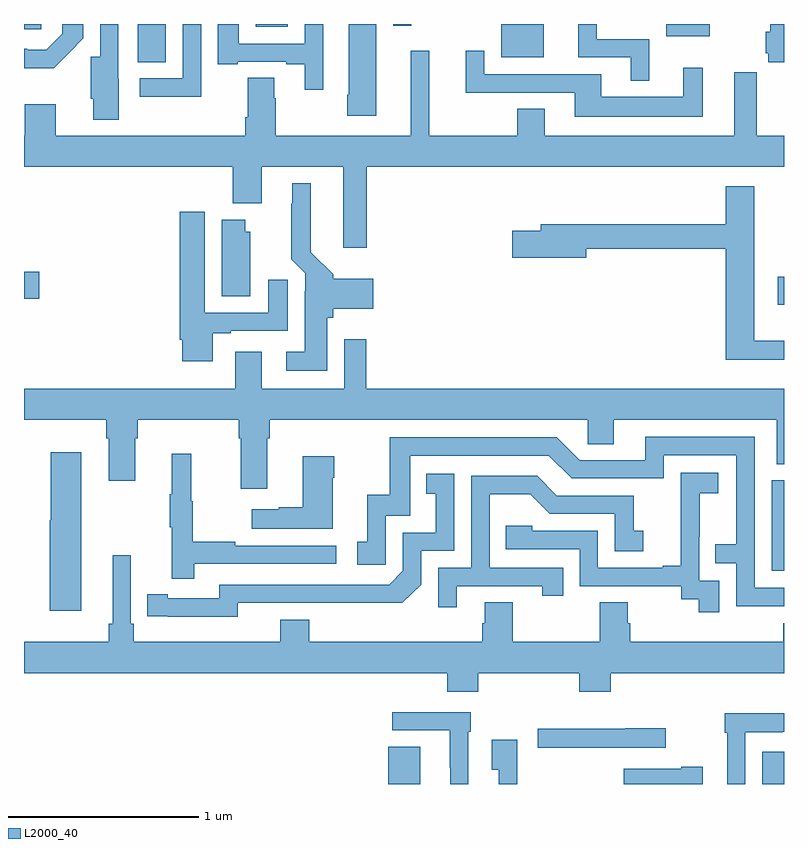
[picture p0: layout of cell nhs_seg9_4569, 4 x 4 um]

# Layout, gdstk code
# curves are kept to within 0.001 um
import gdstk
lib = gdstk.Library(unit=1e-6, precision=1e-09)
def R(c, l, rs):  # rectangles x0, y0, x1, y1
    for r in rs: c.add(gdstk.rectangle(r[:2], r[2:], *l))
def P(c, l, *ps):  # polygons
    for p in ps: c.add(gdstk.Polygon(p, *l))
L2000_40 = (2000, 40)

nhs_seg9_4569 = lib.new_cell('nhs_seg9_4569')
R(nhs_seg9_4569, L2000_40, [(374.918,1198.5,375.085,1198.697), (376.886,1198.5,377,1198.67), (376.935,1199.622,377,1200.099), (376.968,1201.022,377,1201.17), (373,1201.054,373.081,1201.196), (373.598,1202.299,373.747,1202.5), (375.512,1202.324,375.736,1202.5), (376.379,1202.435,376.609,1202.5), (373,1202.472,373.09,1202.5), (374.219,1202.486,374.389,1202.5), (374.943,1202.49,375.039,1202.5), (375.131,1202.498,375.424,1202.5)])
P(nhs_seg9_4569, L2000_40, [(374.575,1202.394),(374.574,1202.394),(374.574,1202.5),(374.478,1202.5),(374.478,1202.397),(374.131,1202.397),(374.131,1202.5),(374.021,1202.5),(374.021,1202.289),(374.125,1202.289),(374.125,1202.301),(374.381,1202.301),(374.381,1202.289),(374.477,1202.289),(374.477,1202.154),(374.575,1202.154)],
  [(373.932,1202.5),(373.836,1202.5),(373.836,1202.214),(373.608,1202.214),(373.608,1202.117),(373.932,1202.117)],
  [(373.498,1202.211),(373.497,1202.211),(373.497,1202.5),(373.401,1202.5),(373.401,1202.328),(373.352,1202.328),(373.352,1202.107),(373.364,1202.107),(373.364,1201.997),(373.498,1201.997)],
  [(373.239,1202.349),(373.238,1202.35),(373.312,1202.424),(373.312,1202.5),(373.2,1202.5),(373.2,1202.448),(373.116,1202.364),(373.016,1202.364),(373.016,1202.369),(373,1202.369),(373,1202.267),(373.157,1202.267)],
  [(374.854,1202.5),(374.708,1202.5),(374.708,1202.128),(374.701,1202.128),(374.701,1202.016),(374.854,1202.016)],
  [(377,1202.5),(376.928,1202.5),(376.928,1202.46),(376.903,1202.46),(376.903,1202.346),(376.916,1202.346),(376.916,1202.299),(377,1202.299)],
  [(376.291,1202.421),(376.014,1202.421),(376.014,1202.5),(375.917,1202.5),(375.917,1202.325),(376.193,1202.325),(376.193,1202.201),(376.291,1202.201)],
  [(376.573,1202.269),(376.469,1202.269),(376.469,1202.116),(376.039,1202.116),(376.039,1202.235),(375.423,1202.235),(375.423,1202.359),(375.326,1202.359),(375.326,1202.139),(375.899,1202.139),(375.899,1202.012),(376.573,1202.012)],
  [(374.804,1201.748),(377,1201.748),(377,1201.912),(376.856,1201.912),(376.856,1202.245),(376.739,1202.245),(376.739,1201.912),(375.742,1201.912),(375.742,1202.054),(375.595,1202.054),(375.595,1201.912),(375.134,1201.912),(375.134,1202.359),(375.035,1202.359),(375.035,1201.912),(374.325,1201.912),(374.325,1202.108),(374.317,1202.108),(374.317,1202.216),(374.177,1202.216),(374.177,1202.008),(374.165,1202.008),(374.165,1201.912),(373.168,1201.912),(373.168,1202.077),(373.004,1202.077),(373.004,1201.912),(373,1201.912),(373,1201.748),(374.099,1201.748),(374.099,1201.556),(374.251,1201.556),(374.251,1201.748),(374.681,1201.748),(374.681,1201.323),(374.804,1201.323)],
  [(374.596,1200.954),(374.627,1200.954),(374.627,1201.001),(374.839,1201.001),(374.839,1201.159),(374.627,1201.159),(374.627,1201.182),(374.509,1201.3),(374.509,1201.663),(374.411,1201.663),(374.411,1201.553),(374.407,1201.553),(374.407,1201.262),(374.481,1201.188),(374.481,1201.094),(374.477,1201.094),(374.477,1200.775),(374.379,1200.775),(374.379,1200.674),(374.596,1200.674)],
  [(377,1200.833),(376.843,1200.833),(376.843,1201.645),(376.694,1201.645),(376.694,1201.447),(375.719,1201.447),(375.719,1201.413),(375.57,1201.413),(375.57,1201.271),(375.958,1201.271),(375.958,1201.318),(376.694,1201.318),(376.694,1200.734),(377,1200.734)],
  [(373.993,1200.873),(374.089,1200.873),(374.089,1200.885),(374.389,1200.885),(374.389,1201.153),(374.285,1201.153),(374.285,1200.981),(373.951,1200.981),(373.951,1201.513),(373.82,1201.513),(373.82,1200.838),(373.832,1200.838),(373.832,1200.726),(373.993,1200.726)],
  [(374.191,1201.407),(374.164,1201.407),(374.164,1201.471),(374.042,1201.471),(374.042,1201.066),(374.191,1201.066)],
  [(374.281,1200.32),(374.294,1200.32),(374.294,1200.416),(375.966,1200.416),(375.966,1200.289),(376.105,1200.289),(376.105,1200.416),(376.961,1200.416),(376.961,1200.184),(377,1200.184),(377,1200.58),(374.801,1200.58),(374.801,1200.841),(374.685,1200.841),(374.685,1200.58),(374.251,1200.58),(374.251,1200.775),(374.111,1200.775),(374.111,1200.58),(373,1200.58),(373,1200.416),(373.433,1200.416),(373.433,1200.32),(373.445,1200.32),(373.445,1200.096),(373.585,1200.096),(373.585,1200.32),(373.598,1200.32),(373.598,1200.416),(374.129,1200.416),(374.129,1200.32),(374.141,1200.32),(374.141,1200.054),(374.281,1200.054)],
  [(377,1199.532),(376.845,1199.532),(376.845,1200.327),(376.271,1200.327),(376.271,1200.204),(375.924,1200.204),(375.804,1200.324),(374.925,1200.324),(374.925,1200.022),(374.807,1200.022),(374.807,1199.775),(374.754,1199.775),(374.754,1199.655),(374.904,1199.655),(374.904,1199.913),(375.033,1199.913),(375.033,1200.228),(375.762,1200.228),(375.882,1200.108),(376.368,1200.108),(376.368,1200.231),(376.749,1200.231),(376.749,1199.762),(376.639,1199.762),(376.639,1199.661),(376.749,1199.661),(376.749,1199.436),(377,1199.436)],
  [(373.3,1200.247),(373.142,1200.247),(373.142,1199.889),(373.136,1199.889),(373.136,1199.412),(373.3,1199.412)],
  [(373.895,1199.658),(374.644,1199.658),(374.644,1199.754),(374.111,1199.754),(374.111,1199.774),(373.888,1199.774),(373.888,1199.988),(373.88,1199.988),(373.88,1200.238),(373.778,1200.238),(373.778,1200.025),(373.767,1200.025),(373.767,1199.851),(373.778,1199.851),(373.778,1199.58),(373.895,1199.58)],
  [(374.626,1200.113),(374.634,1200.113),(374.634,1200.226),(374.468,1200.226),(374.468,1199.957),(374.342,1199.957),(374.342,1199.947),(374.199,1199.947),(374.199,1199.843),(374.626,1199.843)],
  [(376.659,1199.571),(376.554,1199.571),(376.554,1199.801),(376.556,1199.801),(376.556,1200.029),(376.654,1200.029),(376.654,1200.139),(376.456,1200.139),(376.456,1199.933),(376.457,1199.933),(376.457,1199.65),(376.361,1199.65),(376.361,1199.637),(376.02,1199.637),(376.02,1199.832),(375.675,1199.832),(375.675,1199.859),(375.535,1199.859),(375.535,1199.736),(375.924,1199.736),(375.924,1199.541),(376.458,1199.541),(376.458,1199.473),(376.551,1199.473),(376.551,1199.403),(376.659,1199.403)],
  [(374.124,1199.454),(374.992,1199.453),(375.09,1199.55),(375.09,1199.727),(375.264,1199.727),(375.264,1200.133),(375.118,1200.133),(375.118,1200.027),(375.167,1200.027),(375.167,1199.823),(374.994,1199.823),(374.994,1199.622),(374.922,1199.55),(374.028,1199.55),(374.028,1199.478),(373.756,1199.478),(373.756,1199.498),(373.648,1199.498),(373.648,1199.382),(374.124,1199.381)],
  [(375.277,1199.541),(375.728,1199.541),(375.728,1199.49),(375.839,1199.49),(375.839,1199.637),(375.45,1199.637),(375.45,1200.026),(375.664,1200.026),(375.768,1199.922),(376.11,1199.922),(376.11,1199.724),(376.258,1199.724),(376.258,1199.833),(376.209,1199.833),(376.209,1200.018),(375.805,1200.018),(375.7,1200.123),(375.354,1200.123),(375.354,1199.637),(375.18,1199.637),(375.18,1199.43),(375.277,1199.43)],
  [(377,1199.347),(376.997,1199.347),(376.997,1199.248),(376.19,1199.248),(376.19,1199.346),(376.177,1199.346),(376.177,1199.456),(376.03,1199.456),(376.03,1199.248),(375.573,1199.248),(375.573,1199.456),(375.425,1199.456),(375.425,1199.346),(375.413,1199.346),(375.413,1199.248),(374.501,1199.248),(374.501,1199.365),(374.348,1199.365),(374.348,1199.248),(373.577,1199.248),(373.577,1199.344),(373.563,1199.344),(373.563,1199.704),(373.466,1199.704),(373.466,1199.344),(373.447,1199.344),(373.447,1199.248),(373,1199.248),(373,1199.084),(375.227,1199.084),(375.227,1198.985),(375.392,1198.985),(375.392,1199.084),(375.923,1199.084),(375.923,1198.985),(376.088,1198.985),(376.088,1199.084),(377,1199.084)],
  [(375.339,1198.775),(375.352,1198.775),(375.352,1198.878),(374.937,1198.878),(374.937,1198.782),(375.242,1198.782),(375.242,1198.585),(375.243,1198.585),(375.243,1198.5),(375.339,1198.5)],
  [(376.797,1198.772),(376.994,1198.772),(376.994,1198.776),(377,1198.776),(377,1198.873),(376.689,1198.873),(376.689,1198.769),(376.701,1198.769),(376.701,1198.5),(376.797,1198.5)],
  [(376.061,1198.692),(376.378,1198.692),(376.378,1198.793),(376.165,1198.793),(376.165,1198.79),(375.705,1198.79),(375.705,1198.691),(376.061,1198.691)],
  [(375.597,1198.732),(375.461,1198.732),(375.461,1198.576),(375.498,1198.576),(375.498,1198.5),(375.597,1198.5)],
  [(376.573,1198.592),(376.46,1198.592),(376.46,1198.579),(376.157,1198.579),(376.157,1198.5),(376.573,1198.5)])

lib.write_gds('nhs_seg9_4569.gds')
